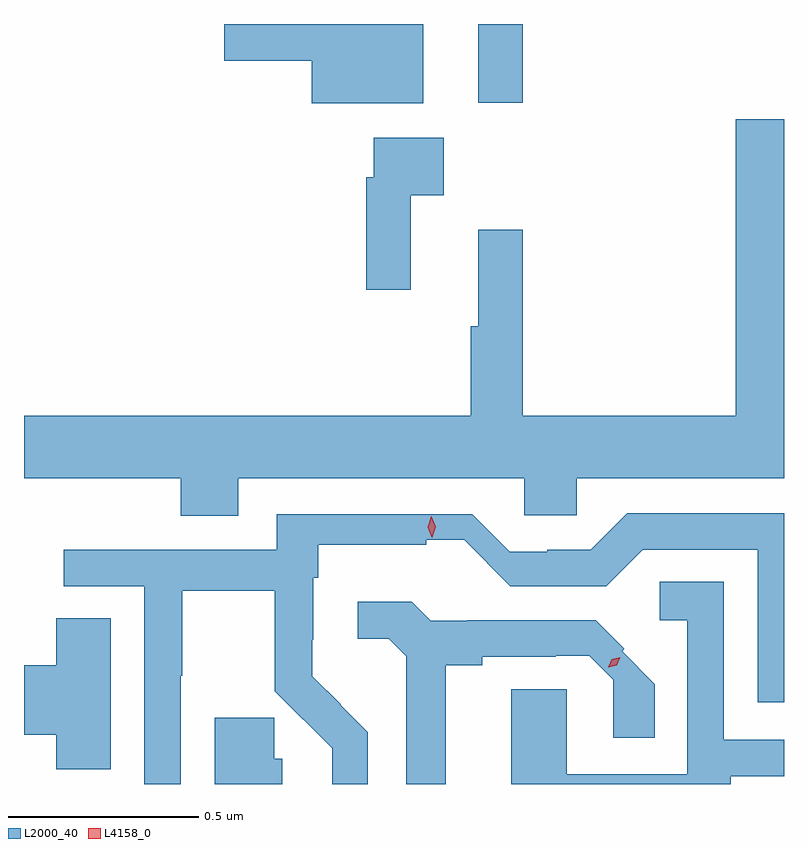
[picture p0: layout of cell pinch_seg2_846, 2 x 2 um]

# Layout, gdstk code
import gdstk
lib = gdstk.Library(unit=1e-6, precision=1e-09)
def R(c, l, rs):  # rectangles x0, y0, x1, y1
    for r in rs: c.add(gdstk.rectangle(r[:2], r[2:], *l))
def P(c, l, *ps):  # polygons
    for p in ps: c.add(gdstk.Polygon(p, *l))
L2000_40 = (2000, 40)
L4158_0 = (4158, 0)

pinch_seg2_846 = lib.new_cell('pinch_seg2_846')
R(pinch_seg2_846, L2000_40, [(748.322,595.344,748.439,595.551)])
P(pinch_seg2_846, L2000_40, [(748.177,595.551),(747.654,595.551),(747.654,595.454),(747.884,595.454),(747.884,595.343),(748.177,595.343)],
  [(747.691,594.356),(748.443,594.356),(748.443,594.258),(748.581,594.258),(748.581,594.356),(749.127,594.356),(749.127,595.3),(749,595.3),(749,594.52),(748.439,594.52),(748.439,595.009),(748.322,595.009),(748.322,594.756),(748.303,594.756),(748.303,594.52),(747.127,594.52),(747.127,594.356),(747.539,594.356),(747.539,594.257),(747.691,594.257)],
  [(748.145,595.1),(748.231,595.1),(748.231,595.252),(748.047,595.252),(748.047,595.148),(748.027,595.148),(748.027,594.852),(748.145,594.852)],
  [(747.54,593.836),(747.543,593.836),(747.543,594.06),(747.787,594.06),(747.787,593.795),(747.938,593.645),(747.938,593.551),(748.032,593.551),(748.032,593.687),(747.959,593.76),(747.96,593.761),(747.886,593.835),(747.886,593.93),(747.888,593.93),(747.888,594.094),(747.901,594.094),(747.901,594.181),(748.185,594.181),(748.185,594.194),(748.285,594.194),(748.407,594.072),(748.659,594.072),(748.755,594.168),(749.058,594.168),(749.058,593.766),(749.127,593.766),(749.127,594.264),(748.715,594.264),(748.619,594.168),(748.504,594.168),(748.504,594.162),(748.405,594.162),(748.306,594.261),(747.792,594.261),(747.792,594.168),(747.231,594.168),(747.231,594.072),(747.444,594.072),(747.444,593.551),(747.54,593.551)],
  [(748.987,593.571),(749.127,593.571),(749.127,593.667),(748.968,593.667),(748.968,594.083),(748.8,594.083),(748.8,593.982),(748.872,593.982),(748.872,593.577),(748.555,593.577),(748.555,593.801),(748.409,593.801),(748.409,593.551),(748.987,593.551)],
  [(748.237,593.864),(748.333,593.864),(748.333,593.886),(748.526,593.886),(748.526,593.889),(748.614,593.889),(748.677,593.826),(748.677,593.673),(748.787,593.673),(748.787,593.814),(748.701,593.901),(748.707,593.907),(748.631,593.982),(748.294,593.982),(748.294,593.981),(748.198,593.981),(748.148,594.031),(748.005,594.031),(748.005,593.933),(748.087,593.933),(748.133,593.887),(748.133,593.551),(748.237,593.551)],
  [(747.355,593.987),(747.212,593.987),(747.212,593.864),(747.127,593.864),(747.127,593.681),(747.212,593.681),(747.212,593.59),(747.355,593.59)],
  [(747.807,593.618),(747.786,593.618),(747.786,593.726),(747.629,593.726),(747.629,593.551),(747.807,593.551)])
P(pinch_seg2_846, L4158_0, [(748.665,593.858),(748.665,593.858),(748.674,593.879),(748.696,593.885),(748.696,593.885),(748.696,593.885),(748.687,593.864),(748.666,593.858)],
  [(748.201,594.199),(748.2,594.2),(748.19,594.227),(748.199,594.255),(748.199,594.255),(748.199,594.255),(748.21,594.228),(748.201,594.2)])

lib.write_gds('pinch_seg2_846.gds')
